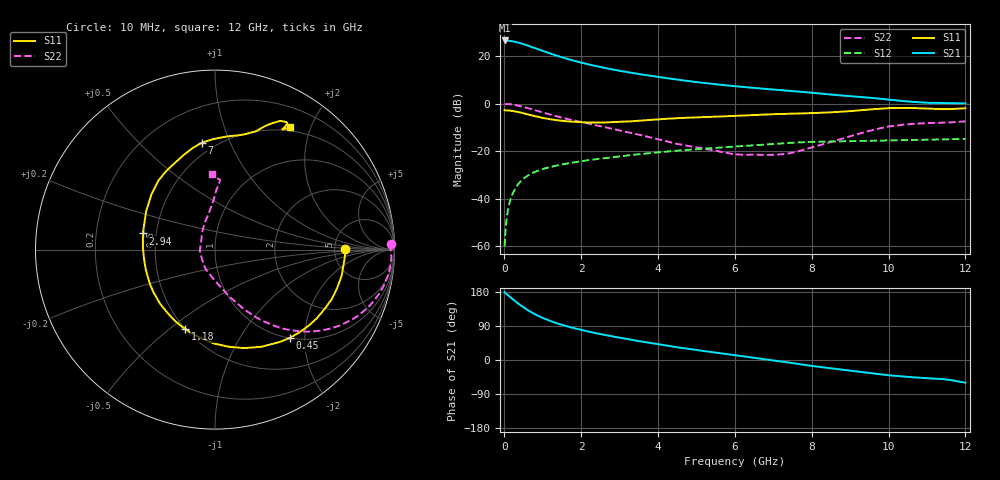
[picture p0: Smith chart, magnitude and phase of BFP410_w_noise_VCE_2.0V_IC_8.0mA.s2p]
! Infineon Technologies  Discrete & RF Semiconductors
! BFP410
! VCE =  2.0 V,  IC =  8.0 mA
! Common Emitter S-Parameters:  Nov 2015
# GHz  S  MA  R  50
!  f  S11  S21  S12  S22
! GHz  MAG  ANG  MAG  ANG  MAG  ANG  MAG  ANG
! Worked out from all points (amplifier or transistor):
!   243 points, 10 MHz to 12 GHz, reference 50 ohm
!   highest |S21| = 26.6 dB at 20 MHz (marker M1)
!   |S21| within 3 dB of that: start of sweep to 760.4 MHz
!   unconditionally stable (mu >= 1): 2.594 GHz to end of sweep
!   at 240 MHz: K = 0.14, MSG = 31.7 dB, |S12| = -37.1 dB
!   at 1.84 GHz: K = 0.79, MSG = 21.3 dB, |S12| = -24.7 dB
!   at 12 GHz: K = 1.05, MAG = 6.1 dB, |S12| = -14.8 dB
!   lowest NFmin = 1.18 dB at 900 MHz
!   S11 on the Smith chart (normalised r, x): 10 MHz: 6.32, +0.10; 450 MHz: 1.00, -1.69; 1.18 GHz: 0.50, -0.57; 2.94 GHz: 0.42, +0.09; 7 GHz: 0.43, +0.79; 12 GHz: 0.45, +1.70
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0.01  0.7269 0.3  21.38 179.2  0.001 101.2  0.9783 1.8
0.02  0.7265 -1.9  21.42 177.8  0.0014 91.9  0.9797 -0.5
0.15  0.7138 -17.2  20.96 166.5  0.0089 81.9  0.9737 -8.8
0.26  0.6919 -29.6  20.2 157.1  0.015 76.5  0.9459 -15.2
0.36  0.6687 -40.4  19.39 149.2  0.0201 71.9  0.9116 -20.6
0.45  0.6444 -49.8  18.49 142.5  0.0243 68.2  0.8764 -25.0
0.6  0.6003 -64.4  16.87 132.0  0.0302 62.8  0.812 -31.5
0.7  0.5721 -73.6  15.82 126.1  0.0337 59.9  0.7697 -35.2
0.9  0.5241 -90.2  13.83 115.6  0.0395 55.1  0.69 -41.5
1.18  0.4725 -110.6  11.5 103.6  0.0461 50.6  0.5938 -48.3
1.4  0.4456 -124.5  10.03 95.8  0.0504 48.0  0.5322 -52.5
1.56  0.4316 -133.3  9.166 91.0  0.0534 46.5  0.495 -54.9
2.02  0.4061 -156.0  7.259 79.1  0.0616 43.2  0.4094 -60.9
2.4  0.3988 -172.8  6.156 70.5  0.0682 40.7  0.3496 -65.5
2.94  0.4106 167.3  5.029 60.0  0.077 37.3  0.2791 -72.2
4.1  0.4742 136.8  3.561 40.1  0.0962 30.0  0.1705 -90.6
5  0.5153 121.9  2.846 26.3  0.1102 23.7  0.1206 -115.4
6.1  0.5591 107.2  2.294 11.3  0.1265 16.0  0.0851 -154.8
7  0.6 96.9  1.986 -1.2  0.1416 9.4  0.0839 166.4
8.2  0.6416 81.0  1.641 -18.2  0.1582 -3.0  0.1331 120.1
10.2  0.809 61.9  1.173 -42.0  0.1688 -18.0  0.3459 87.8
12  0.8 58.5  1.016 -59.8  0.1816 -32.7  0.4234 91.9
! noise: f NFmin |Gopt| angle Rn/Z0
0.45  1.21  0.12  -6  0.18
0.9  1.18  0.11  12  0.17
1.8  1.32  0.04  55  0.17
2.4  1.3  0.01  -67  0.19
5.5  2.19  0.33  -117  0.24
10  3.37  0.67  -50  1.8
